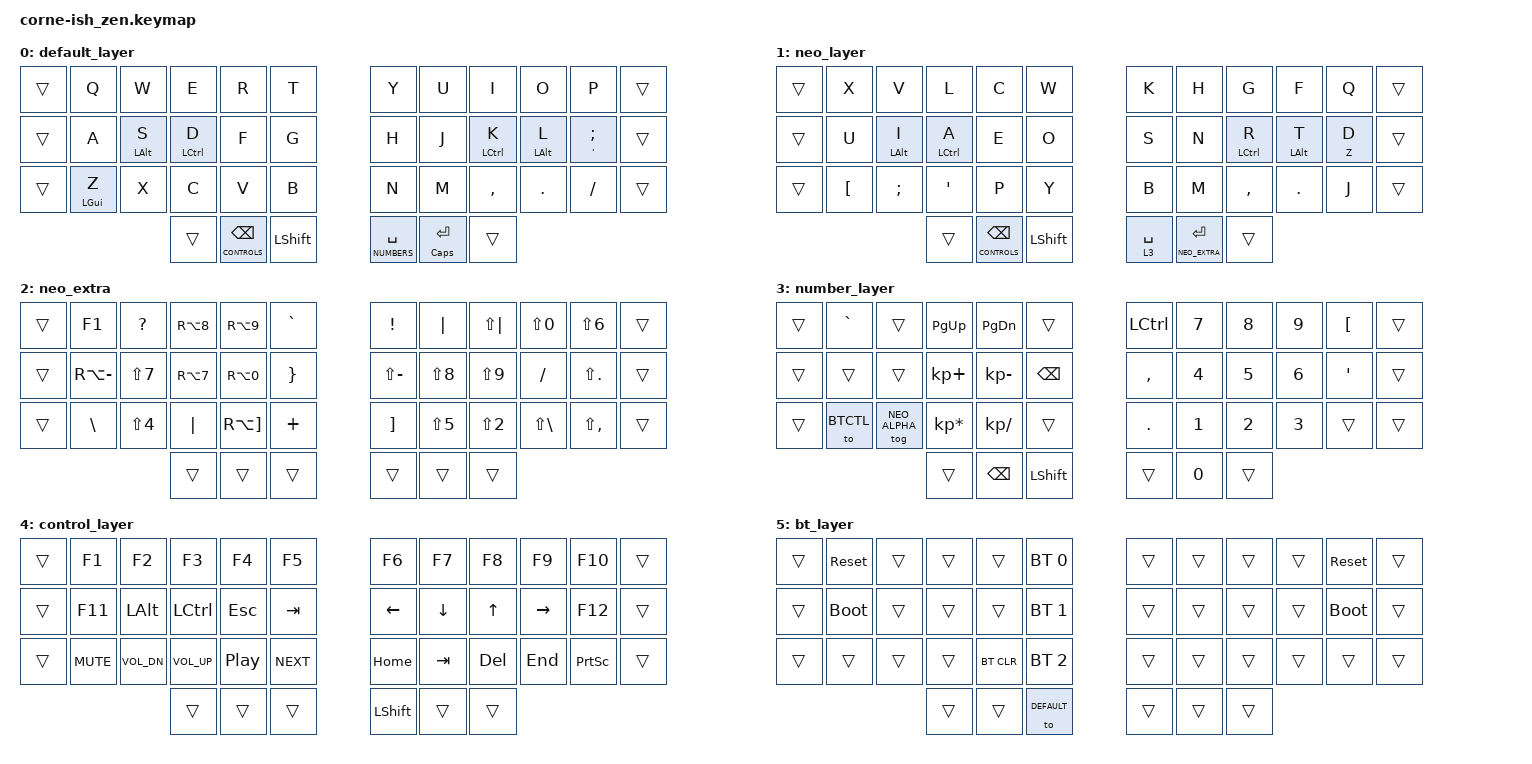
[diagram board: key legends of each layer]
// Copyright (c) 2022 The ZMK Contributors
// SPDX-License-Identifier: MIT

#include <behaviors.dtsi>
#include <dt-bindings/zmk/keys.h>
#include <dt-bindings/zmk/bt.h>

#define DEFAULT 0
#define NEO_ALPHA 1
#define NEO_EXTRA 2
#define NUMBERS 3
#define CONTROLS 4
#define BTCTL 5

&lt {
    tapping-term-ms = <150>;
    flavor = "tap-preferred";
};

/ {
    behaviors {
        ht: hold_tap {
            label = "hold_tap";
            compatible = "zmk,behavior-hold-tap";
            #binding-cells = <2>;
            flavor = "tap-preferred";
            tapping-term-ms = <150>;
            bindings = <&kp>, <&kp>;
            quick-tap-ms = <50>;
        };
    };

    keymap {
        compatible = "zmk,keymap";
        default_layer {
            bindings = <
        //╭──────────┬──────────┬──────────┬──────────┬──────────╮   ╭──────────┬──────────┬──────────┬──────────┬──────────╮
        //│  Q        │  W        │  E        │  R         │  T        │    │  Y       │  U         │  I        │  O         │  P        │
           &trans &kp Q      &kp W      &kp E      &kp R      &kp T                 &kp Y      &kp U      &kp I      &kp O      &kp P &trans
        //├──────────┼──────────┼──────────┼──────────┼──────────┤   ├──────────┼──────────┼──────────┼──────────┼──────────┤
        //│  A         │  S        │  D        │  F        │  G         │   │  H        │  J        │  K        │  L         │ ' "       │
           &trans &kp A       &ht LALT S  &ht LCTRL D &kp F     &kp G               &kp H       &kp J       &ht LCTRL K &ht LALT L    &ht SINGLE_QUOTE SEMICOLON &trans
        //├──────────┼──────────┼──────────┼──────────┼──────────┤   ├──────────┼──────────┼──────────┼──────────┼──────────┤
        //│  Z        │  X         │  C        │  V        │  B         │  │  N         │  M        │ , <       │ . >        │ / ?       │
           &trans &ht LGUI Z    &kp X      &kp C      &kp V      &kp B                 &kp N      &kp M      &kp COMMA  &kp DOT    &kp FSLH &trans
        //╰──────────┴──────────┴──────────┼──────────┼──────────┤   ├──────────┼──────────┼──────────┴──────────┴──────────╯
                                        &trans &lt CONTROLS BSPC   &kp LSHFT     &lt NUMBERS SPACE  &ht CAPS ENTER &trans
        //                                     ╰──────────┴──────────╯   ╰──────────┴──────────╯
            >;
        };

        neo_layer {
            bindings = <
        //╭──────────┬──────────┬──────────┬──────────┬──────────╮   ╭──────────┬──────────┬──────────┬──────────┬──────────╮
        //│           │           │            │           │           │    │           │           │            │           │           │
           &trans &kp X      &kp V        &kp L           &kp C      &kp W            &kp K      &kp H         &kp G      &kp F        &kp Q &trans
        //├──────────┼──────────┼──────────┼──────────┼──────────┤   ├──────────┼──────────┼──────────┼──────────┼──────────┤
        //│            │           │           │          │            │   │            │           │            │           │           │
           &trans &kp U       &ht LALT I    &ht LCTRL A       &kp E     &kp O         &kp S     &kp N      &ht LCTRL R    &ht LALT T   &ht Z D &trans
        //├──────────┼──────────┼──────────┼──────────┼──────────┤   ├──────────┼──────────┼──────────┼──────────┼──────────┤
        //│           │           │           │            │           │    │           │           │           │            │           │
           &trans &kp LBKT  &kp SEMICOLON &kp SINGLE_QUOTE  &kp P        &kp Y         &kp B          &kp M      &kp COMMA  &kp DOT       &kp J &trans
        //╰──────────┴──────────┴──────────┼──────────┼──────────┤   ├──────────┼──────────┼──────────┴──────────┴──────────╯
                                      &trans &lt CONTROLS BSPC   &kp LSHFT        &lt 3 SPACE  &lt NEO_EXTRA ENTER &trans
        //                                     ╰──────────┴──────────╯   ╰──────────┴──────────╯
            >;
        };


        neo_extra {
            bindings = <
        //╭──────────┬──────────┬──────────┬──────────┬──────────╮   ╭──────────┬──────────┬──────────┬──────────┬──────────╮
        //│   …       │   _       │   [        │     ]     │     ^     │    │    !      │    <      │     >      │   =       │    &      │
           &trans &kp F1      &kp QUESTION  &kp RA(N8)  &kp RA(N9)   &kp GRAVE        &kp EXCLAMATION  &kp PIPE &kp LS(PIPE) &kp LS(N0) &kp LS(N6) &trans
        //├──────────┼──────────┼──────────┼──────────┼──────────┤   ├──────────┼──────────┼──────────┼──────────┼──────────┤
        //│     \      │     /     │    {      │     }    │      *     │   │    ?       │       (   │      )     │     -     │     :     │
           &trans &kp RA(MINUS) &kp LS(N7) &kp RA(N7) &kp RA(N0)  &kp RBRC      &kp LS(MINUS) &kp LS(N8) &kp LS(N9)    &kp FSLH  &kp LS(DOT) &trans
        //├──────────┼──────────┼──────────┼──────────┼──────────┤   ├──────────┼──────────┼──────────┼──────────┼──────────┤
        //│   #       │     $     │     |     │    ~       │    `      │    │    +      │    %      │    "      │     '      │   ;       │
           &trans &kp BSLH  &kp LS(N4)    &kp PIPE    &kp RA(RBKT)   &kp PLUS         &kp RBKT   &kp LS(N5)   &kp LS(N2)   &kp LS(BSLH) &kp LS(COMMA) &trans
        //╰──────────┴──────────┴──────────┼──────────┼──────────┤   ├──────────┼──────────┼──────────┴──────────┴──────────╯
                                            &trans &trans     &trans      &trans     &trans &trans
        //                                 ╰──────────┴──────────╯   ╰──────────┴──────────╯
            >;
        };

        number_layer {
            bindings = <
        //╭──────────┬──────────┬──────────┬──────────┬──────────╮   ╭──────────┬──────────┬──────────┬──────────┬──────────╮
        //│           │           │            │           │           │    │           │           │            │           │           │
           &trans &kp GRAVE    &trans     &kp PG_UP     &kp PG_DN     &trans         &kp LCTRL   &kp N7       &kp N8       &kp N9     &kp LBKT &trans
        //├──────────┼──────────┼──────────┼──────────┼──────────┤   ├──────────┼──────────┼──────────┼──────────┼──────────┤ 
        //│            │           │           │          │            │   │            │           │            │           │           │
           &trans &trans      &trans     &kp KP_PLUS     &kp KP_MINUS     &kp BSPC         &kp COMMA       &kp N4      &kp N5        &kp N6   &kp SINGLE_QUOTE &trans
        //├──────────┼──────────┼──────────┼──────────┼──────────┤   ├──────────┼──────────┼──────────┼──────────┼──────────┤
        //│           │           │           │            │           │    │           │           │           │            │           │
          &trans &to BTCTL  &tog NEO_ALPHA &kp KP_MULTIPLY     &kp KP_DIVIDE     &trans         &kp DOT     &kp N1     &kp N2       &kp N3       &trans &trans
        //╰──────────┴──────────┴──────────┼──────────┼──────────┤   ├──────────┼──────────┼──────────┴──────────┴──────────╯
                                                &trans &kp BSPC     &kp LSHFT        &trans     &kp N0 &trans
        //                                     ╰──────────┴──────────╯   ╰──────────┴──────────╯
            >;
        };

        control_layer {
            bindings = <
        //╭──────────┬──────────┬──────────┬──────────┬──────────╮   ╭──────────┬──────────┬──────────┬──────────┬──────────╮
        //│           │           │            │           │           │    │           │           │            │           │           │
           &trans &kp F1      &kp F2        &kp F3      &kp F4      &kp F5            &kp F6      &kp F7      &kp F8      &kp F9        &kp F10 &trans
        //├──────────┼──────────┼──────────┼──────────┼──────────┤   ├──────────┼──────────┼──────────┼──────────┼──────────┤
        //│            │           │           │          │            │   │            │           │            │           │           │
           &trans &kp F11       &kp LALT    &kp LCTRL    &kp ESC    &kp TAB         &kp LEFT    &kp DOWN      &kp UP      &kp RIGHT   &kp F12 &trans
        //├──────────┼──────────┼──────────┼──────────┼──────────┤   ├──────────┼──────────┼──────────┼──────────┼──────────┤
        //│           │           │           │            │           │    │           │           │           │            │           │
          &trans &kp C_MUTE &kp C_VOL_DN &kp C_VOL_UP &kp C_PP &kp C_NEXT      &kp HOME  &kp TAB       &kp DEL     &kp END       &kp PRINTSCREEN &trans
        //╰──────────┴──────────┴──────────┼──────────┼──────────┤   ├──────────┼──────────┼──────────┴──────────┴──────────╯
                                               &trans &trans        &trans              &kp LSHFT     &trans &trans
        //                                     ╰──────────┴──────────╯   ╰──────────┴──────────╯
            >;
        };
        

        bt_layer {
            bindings = <
        //╭──────────┬──────────┬──────────┬──────────┬──────────╮   ╭──────────┬──────────┬──────────┬──────────┬──────────╮
        //│ RESET    │          │          │          │PROFILE 0 │   │          │          │          │          │  RESET   │
           &trans &sys_reset     &trans     &trans     &trans    &bt BT_SEL 0    &trans     &trans     &trans     &trans      &sys_reset &trans
        //├──────────┼──────────┼──────────┼──────────┼──────────┤   ├──────────┼──────────┼──────────┼──────────┼──────────┤
        //│BOOTLOADER│          │          │          │PROFILE 1 │   │          │          │          │          │BOOTLOADER│
         &trans &bootloader  &trans     &trans     &trans    &bt BT_SEL 1    &trans     &trans     &trans     &trans    &bootloader &trans
        //├──────────┼──────────┼──────────┼──────────┼──────────┤   ├──────────┼──────────┼──────────┼──────────┼──────────┤
        //│          │          │          │ CLEAR BT │PROFILE 2 │   │          │          │          │          │          │
           &trans &trans     &trans     &trans    &bt BT_CLR &bt BT_SEL 2    &trans     &trans     &trans     &trans     &trans &trans
        //╰──────────┴──────────┴──────────┼──────────┼──────────┤   ├──────────┼──────────┼──────────┴──────────┴──────────╯
                                            &trans &trans     &to DEFAULT         &trans     &trans &trans
        //                                 ╰──────────┴──────────╯   ╰──────────┴──────────╯
            >;
        };
    };
};
